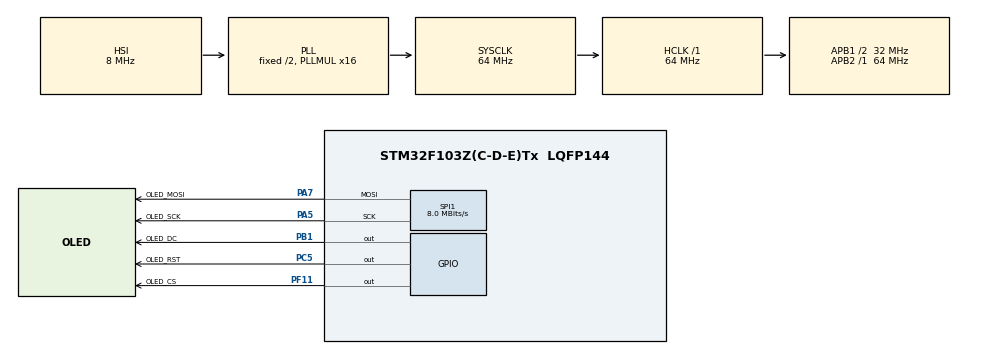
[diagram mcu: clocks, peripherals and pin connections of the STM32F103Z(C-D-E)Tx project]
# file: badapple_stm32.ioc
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Mcu.Family=STM32F1
Mcu.Name=STM32F103Z(C-D-E)Tx
Mcu.Package=LQFP144
NVIC.PriorityGroup=NVIC_PRIORITYGROUP_4
PA13.Mode=Serial_Wire
PA13.Signal=SYS_JTMS-SWDIO
PA14.Mode=Serial_Wire
PA14.Signal=SYS_JTCK-SWCLK
PA5.GPIO_Label=OLED_SCK
PA5.Mode=TX_Only_Simplex_Unidirect_Master
PA5.Signal=SPI1_SCK
PA7.GPIO_Label=OLED_MOSI
PA7.Mode=TX_Only_Simplex_Unidirect_Master
PA7.Signal=SPI1_MOSI
PB1.GPIO_Label=OLED_DC
PB1.Signal=GPIO_Output
PC5.GPIO_Label=OLED_RST
PC5.Signal=GPIO_Output
PF11.GPIO_Label=OLED_CS
PF11.Signal=GPIO_Output
ProjectManager.HeapSize=0x200
ProjectManager.StackSize=0x400
ProjectManager.TargetToolchain=MDK-ARM V5.32
RCC.AHBFreq_Value=64000000
RCC.APB1CLKDivider=RCC_HCLK_DIV2
RCC.APB1Freq_Value=32000000
RCC.APB1TimFreq_Value=64000000
RCC.APB2Freq_Value=64000000
RCC.APB2TimFreq_Value=64000000
RCC.HCLKFreq_Value=64000000
RCC.PLLMUL=RCC_PLL_MUL16
RCC.SYSCLKFreq_VALUE=64000000
RCC.SYSCLKSource=RCC_SYSCLKSOURCE_PLLCLK
RCC.USBFreq_Value=64000000
SPI1.BaudRatePrescaler=SPI_BAUDRATEPRESCALER_8
SPI1.CalculateBaudRate=8.0 MBits/s
SPI1.Direction=SPI_DIRECTION_2LINES
SPI1.Mode=SPI_MODE_MASTER
SPI1.VirtualType=VM_MASTER
board=custom

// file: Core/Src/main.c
/* USER CODE BEGIN Header */
/**
  ******************************************************************************
  * @file           : main.c
  * @brief          : Main program body
  ******************************************************************************
  * @attention
  *
  * Copyright (c) 2026 STMicroelectronics.
  * All rights reserved.
  *
  * This software is licensed under terms that can be found in the LICENSE file
  * in the root directory of this software component.
  * If no LICENSE file comes with this software, it is provided AS-IS.
  *
  ******************************************************************************
  */

	// SCK  --- PA5
	// MOSI --- PA7
	// RST  --- PC5
	// DC   --- PB1
	// CS   --- PF11

/* USER CODE END Header */
#include "main.h"
#include "spi.h"
#include "gpio.h"

/* USER CODE BEGIN Includes */
#include "ssd1306.h"
#include "huffman4bit.h"
#include "badapple_h4b.h"     /* shared compressed asset in examples/assets/ */
/* USER CODE END Includes */

/* USER CODE BEGIN PD */
#define FRAME_TICKS  66U          /* ~15 fps, the source video timing */

/* Playback path:
 *   1: h4b_decode() into a 1 KB frame buffer, then blit the whole frame.
 *      Random access friendly (seek = jump to any frame index), costs 1 KB RAM.
 *   0: h4b_decode_stream() emits bytes straight to the SPI bus as they are
 *      reconstructed - zero frame buffer. */
#define USE_FRAME_BUFFER 1
/* USER CODE END PD */

void SystemClock_Config(void);

/* USER CODE BEGIN 0 */
/* Play the whole compressed clip, one frame per tick slot. */
static void badapple_play(void)
{
#if USE_FRAME_BUFFER
  static uint8_t frame[SSD1306_FRAME_LEN];
#endif

  for (unsigned int i = 0U; i < sizeof(IMG_BAD_APPLE) / sizeof(IMG_BAD_APPLE[0]); i++)
  {
    uint32_t start = HAL_GetTick();

#if USE_FRAME_BUFFER
    uint32_t frame_len = 0U;

    h4b_decode(IMG_BAD_APPLE[i],
               IMG_BAD_APPLE_LEN[i],
               h4b_badapple_h4b_tables,
               frame, &frame_len);
    ssd1306_blit(frame);
#else
    ssd1306_frame_begin();
    h4b_decode_stream(IMG_BAD_APPLE[i],
                      IMG_BAD_APPLE_LEN[i],
                      h4b_badapple_h4b_tables,
                      ssd1306_stream_byte, 0);
    ssd1306_frame_end();
#endif

    while ((HAL_GetTick() - start) < FRAME_TICKS)
    {
    }
  }
}
/* USER CODE END 0 */

int main(void)
{

  /* MCU Configuration--------------------------------------------------------*/

  /* Reset of all peripherals, Initializes the Flash interface and the Systick. */
  HAL_Init();

  /* Configure the system clock */
  SystemClock_Config();

  /* Initialize all configured peripherals */
  MX_GPIO_Init();
  MX_SPI1_Init();
  /* USER CODE BEGIN 2 */
  ssd1306_init();
  /* USER CODE END 2 */

  /* Infinite loop */
  while (1)
  {

    /* USER CODE BEGIN 3 */
    badapple_play();            /* one full pass (~217 s), then loops */
  }
  /* USER CODE END 3 */
}

void SystemClock_Config(void)
{
  RCC_OscInitTypeDef RCC_OscInitStruct = {0};
  RCC_ClkInitTypeDef RCC_ClkInitStruct = {0};

  /** Initializes the RCC Oscillators according to the specified parameters
  * in the RCC_OscInitTypeDef structure.
  */
  RCC_OscInitStruct.OscillatorType = RCC_OSCILLATORTYPE_HSI;
  RCC_OscInitStruct.HSIState = RCC_HSI_ON;
  RCC_OscInitStruct.HSICalibrationValue = RCC_HSICALIBRATION_DEFAULT;
  RCC_OscInitStruct.PLL.PLLState = RCC_PLL_ON;
  RCC_OscInitStruct.PLL.PLLSource = RCC_PLLSOURCE_HSI_DIV2;
  RCC_OscInitStruct.PLL.PLLMUL = RCC_PLL_MUL16;
  if (HAL_RCC_OscConfig(&RCC_OscInitStruct) != HAL_OK)
  {
    Error_Handler();
  }

  /** Initializes the CPU, AHB and APB buses clocks
  */
  RCC_ClkInitStruct.ClockType = RCC_CLOCKTYPE_HCLK|RCC_CLOCKTYPE_SYSCLK
                              |RCC_CLOCKTYPE_PCLK1|RCC_CLOCKTYPE_PCLK2;
  RCC_ClkInitStruct.SYSCLKSource = RCC_SYSCLKSOURCE_PLLCLK;
  RCC_ClkInitStruct.AHBCLKDivider = RCC_SYSCLK_DIV1;
  RCC_ClkInitStruct.APB1CLKDivider = RCC_HCLK_DIV2;
  RCC_ClkInitStruct.APB2CLKDivider = RCC_HCLK_DIV1;

  if (HAL_RCC_ClockConfig(&RCC_ClkInitStruct, FLASH_LATENCY_2) != HAL_OK)
  {
    Error_Handler();
  }
}

void Error_Handler(void)
{
  __disable_irq();
  while (1)
  {
  }
}
